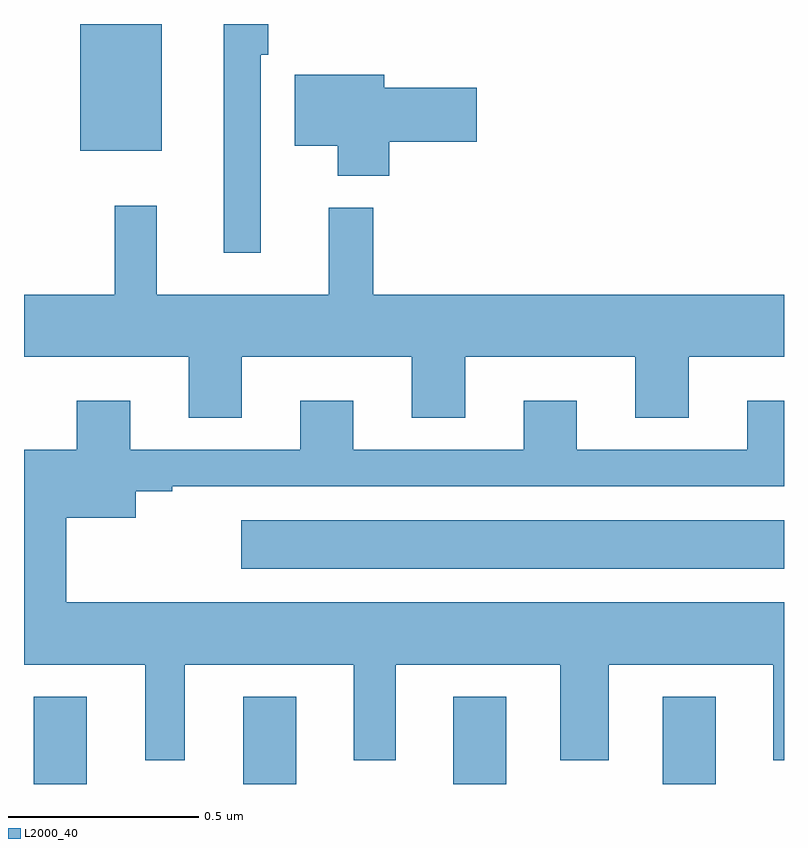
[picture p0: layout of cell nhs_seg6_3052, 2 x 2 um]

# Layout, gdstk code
import gdstk
lib = gdstk.Library(unit=1e-6, precision=1e-09)
def R(c, l, rs):  # rectangles x0, y0, x1, y1
    for r in rs: c.add(gdstk.rectangle(r[:2], r[2:], *l))
def A(c, l, x, y, w, h, nx, ny, dx, dy):  # array of equal rectangles
    R(c, l, [(x+i*dx, y+j*dy, x+i*dx+w, y+j*dy+h) for i in range(nx) for j in range(ny)])
def P(c, l, *ps):  # polygons
    for p in ps: c.add(gdstk.Polygon(p, *l))
L2000_40 = (2000, 40)

nhs_seg6_3052 = lib.new_cell('nhs_seg6_3052')
A(nhs_seg6_3052, L2000_40, 151.025, 991.5, 0.14, 0.229, 4, 1, 0.552, 0)
R(nhs_seg6_3052, L2000_40, [(151.572,992.066,153,992.194), (151.148,993.167,151.363,993.5)])
P(nhs_seg6_3052, L2000_40, [(151.623,993.419),(151.643,993.419),(151.643,993.5),(151.526,993.5),(151.526,992.898),(151.623,992.898)],
  [(151.961,993.19),(152.191,993.19),(152.191,993.332),(151.948,993.332),(151.948,993.367),(151.712,993.367),(151.712,993.179),(151.826,993.179),(151.826,993.101),(151.961,993.101)],
  [(151.573,992.624),(152.021,992.624),(152.021,992.464),(152.161,992.464),(152.161,992.624),(152.609,992.624),(152.609,992.464),(152.749,992.464),(152.749,992.624),(153,992.624),(153,992.788),(151.919,992.788),(151.919,993.016),(151.802,993.016),(151.802,992.788),(151.349,992.788),(151.349,993.022),(151.239,993.022),(151.239,992.788),(151,992.788),(151,992.624),(151.433,992.624),(151.433,992.464),(151.573,992.464)],
  [(151.423,991.814),(151.868,991.814),(151.868,991.563),(151.978,991.563),(151.978,991.814),(152.411,991.814),(152.411,991.563),(152.539,991.563),(152.539,991.814),(152.972,991.814),(152.972,991.563),(153,991.563),(153,991.978),(151.111,991.978),(151.111,992.201),(151.294,992.201),(151.294,992.271),(151.39,992.271),(151.39,992.283),(153,992.283),(153,992.509),(152.903,992.509),(152.903,992.379),(152.455,992.379),(152.455,992.509),(152.315,992.509),(152.315,992.379),(151.867,992.379),(151.867,992.509),(151.727,992.509),(151.727,992.379),(151.279,992.379),(151.279,992.509),(151.139,992.509),(151.139,992.38),(151,992.38),(151,991.814),(151.319,991.814),(151.319,991.563),(151.423,991.563)])

lib.write_gds('nhs_seg6_3052.gds')
